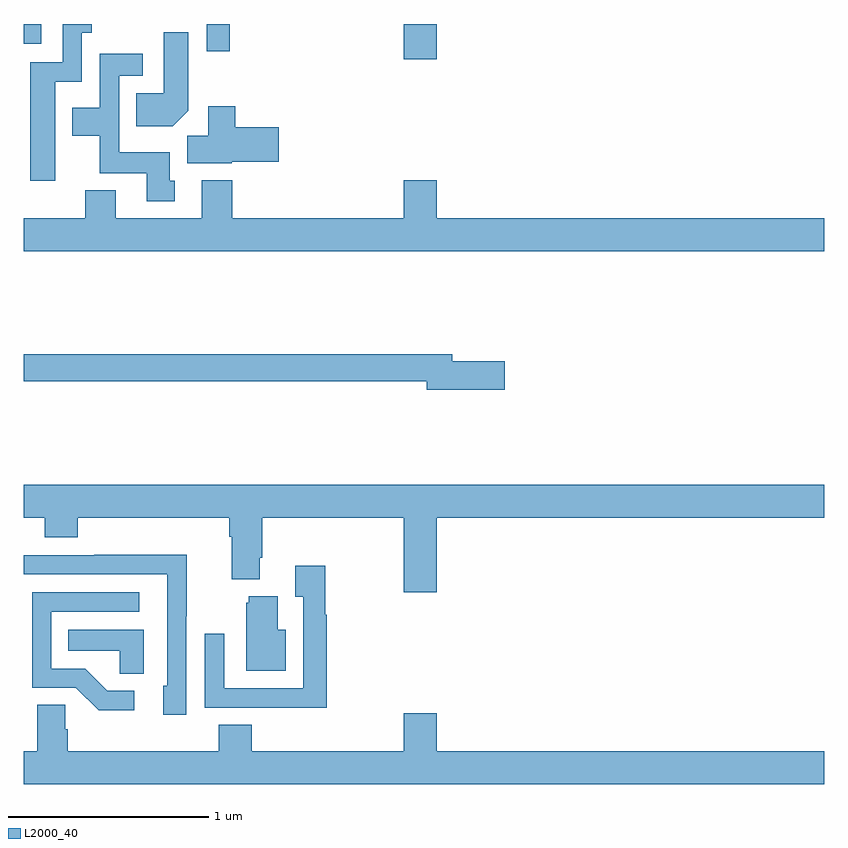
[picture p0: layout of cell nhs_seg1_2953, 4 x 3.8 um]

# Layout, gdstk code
import gdstk
lib = gdstk.Library(unit=1e-6, precision=1e-09)
def R(c, l, rs):  # rectangles x0, y0, x1, y1
    for r in rs: c.add(gdstk.rectangle(r[:2], r[2:], *l))
def P(c, l, *ps):  # polygons
    for p in ps: c.add(gdstk.Polygon(p, *l))
L2000_40 = (2000, 40)

nhs_seg1_2953 = lib.new_cell('nhs_seg1_2953')
R(nhs_seg1_2953, L2000_40, [(272.9,554.022,273.064,554.199), (271.914,554.064,272.03,554.199), (271,554.1,271.087,554.197)])
P(nhs_seg1_2953, L2000_40, [(271.156,553.91),(271.29,553.91),(271.29,554.155),(271.338,554.155),(271.338,554.199),(271.194,554.199),(271.194,554.007),(271.031,554.007),(271.031,553.416),(271.156,553.416)],
  [(271.822,553.766),(271.822,554.158),(271.7,554.158),(271.7,553.852),(271.561,553.852),(271.561,553.688),(271.744,553.688)],
  [(271.753,553.416),(271.729,553.416),(271.729,553.558),(271.476,553.558),(271.476,553.941),(271.594,553.941),(271.594,554.05),(271.38,554.05),(271.38,553.78),(271.241,553.78),(271.241,553.64),(271.378,553.64),(271.378,553.454),(271.613,553.454),(271.613,553.314),(271.753,553.314)],
  [(272.04,553.511),(272.275,553.511),(272.275,553.682),(272.057,553.682),(272.057,553.789),(271.922,553.789),(271.922,553.64),(271.817,553.64),(271.817,553.502),(272.04,553.502)],
  [(275,553.228),(273.064,553.228),(273.064,553.417),(272.9,553.417),(272.9,553.228),(272.042,553.228),(272.042,553.417),(271.889,553.417),(271.889,553.228),(271.459,553.228),(271.459,553.369),(271.307,553.369),(271.307,553.228),(271,553.228),(271,553.064),(275,553.064)],
  [(273.403,552.512),(273.142,552.512),(273.142,552.548),(271,552.548),(271,552.412),(273.014,552.412),(273.014,552.37),(273.403,552.37)],
  [(273.064,551.732),(275,551.732),(275,551.896),(271,551.896),(271,551.732),(271.103,551.732),(271.103,551.633),(271.268,551.633),(271.268,551.732),(272.027,551.732),(272.027,551.636),(272.039,551.636),(272.039,551.423),(272.179,551.423),(272.179,551.53),(272.192,551.53),(272.192,551.732),(272.9,551.732),(272.9,551.358),(273.064,551.358)],
  [(271.812,551.239),(271.815,551.239),(271.815,551.546),(271.351,551.546),(271.351,551.544),(271,551.544),(271,551.448),(271.716,551.448),(271.716,550.89),(271.697,550.89),(271.697,550.746),(271.812,550.746)],
  [(272.513,551.246),(272.506,551.246),(272.506,551.491),(272.357,551.491),(272.357,551.335),(272.397,551.335),(272.397,550.878),(272.001,550.878),(272.001,551.152),(271.905,551.152),(271.905,550.782),(272.221,550.782),(272.221,550.781),(272.513,550.781)],
  [(271.552,550.866),(271.417,550.866),(271.306,550.977),(271.137,550.977),(271.137,551.262),(271.576,551.262),(271.576,551.358),(271.041,551.358),(271.041,550.881),(271.26,550.881),(271.373,550.769),(271.552,550.769)],
  [(272.308,551.17),(272.269,551.17),(272.269,551.338),(272.123,551.338),(272.123,551.307),(272.111,551.307),(272.111,550.967),(272.308,550.967)],
  [(271.6,551.17),(271.222,551.17),(271.222,551.066),(271.479,551.066),(271.479,550.951),(271.6,550.951)],
  [(275,550.564),(273.064,550.564),(273.064,550.753),(272.9,550.753),(272.9,550.564),(272.138,550.564),(272.138,550.697),(271.973,550.697),(271.973,550.564),(271.22,550.564),(271.22,550.673),(271.206,550.673),(271.206,550.796),(271.067,550.796),(271.067,550.564),(271,550.564),(271,550.4),(275,550.4)])

lib.write_gds('nhs_seg1_2953.gds')
